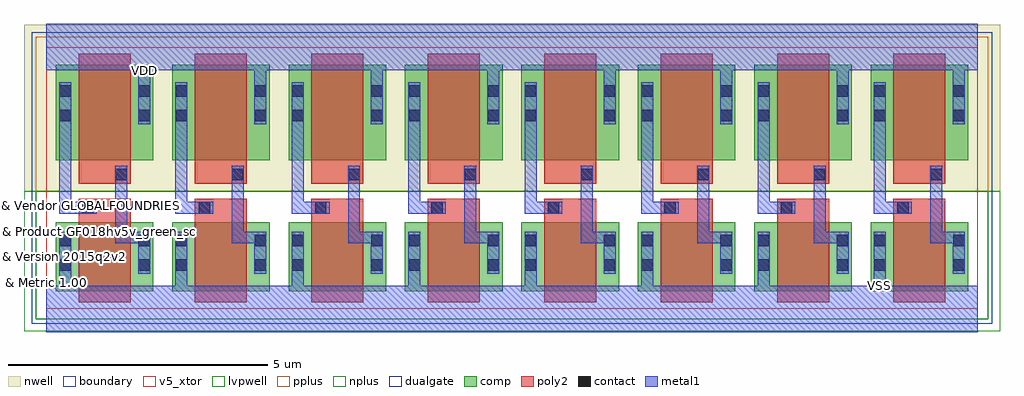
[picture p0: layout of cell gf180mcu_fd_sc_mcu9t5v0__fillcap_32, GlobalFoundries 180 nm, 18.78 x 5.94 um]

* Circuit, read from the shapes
.subckt gf180mcu_fd_sc_mcu9t5v0__fillcap_32 VDD VSS
XM1 n1 n2 VSS VSUBS nfet_05v0 w=1.32u l=1u
XM2 n3 n4 VSS VSUBS nfet_05v0 w=1.32u l=1u
XM3 n5 n6 VSS VSUBS nfet_05v0 w=1.32u l=1u
XM4 n7 n8 VSS VSUBS nfet_05v0 w=1.32u l=1u
XM5 n9 n10 VSS VSUBS nfet_05v0 w=1.32u l=1u
XM6 n11 n12 VSS VSUBS nfet_05v0 w=1.32u l=1u
XM7 n13 n14 VSS VSUBS nfet_05v0 w=1.32u l=1u
XM8 n15 n16 VSS VSUBS nfet_05v0 w=1.32u l=1u
XM9 VDD n1 n2 n17 pfet_05v0 w=1.83u l=1u
XM10 VDD n3 n4 n17 pfet_05v0 w=1.83u l=1u
XM11 VDD n5 n6 n17 pfet_05v0 w=1.83u l=1u
XM12 VDD n7 n8 n17 pfet_05v0 w=1.83u l=1u
XM13 VDD n9 n10 n17 pfet_05v0 w=1.83u l=1u
XM14 VDD n11 n12 n17 pfet_05v0 w=1.83u l=1u
XM15 VDD n13 n14 n17 pfet_05v0 w=1.83u l=1u
XM16 VDD n15 n16 n17 pfet_05v0 w=1.83u l=1u
.ends

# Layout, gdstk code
import gdstk
lib = gdstk.Library(unit=1e-6, precision=1e-09)
def R(c, l, rs):  # rectangles x0, y0, x1, y1
    for r in rs: c.add(gdstk.rectangle(r[:2], r[2:], *l))
def A(c, l, x, y, w, h, nx, ny, dx, dy):  # array of equal rectangles
    R(c, l, [(x+i*dx, y+j*dy, x+i*dx+w, y+j*dy+h) for i in range(nx) for j in range(ny)])
def P(c, l, *ps):  # polygons
    for p in ps: c.add(gdstk.Polygon(p, *l))
boundary = (0, 0)
nwell = (21, 0)
comp = (22, 0)
poly2 = (30, 0)
pplus = (31, 0)
nplus = (32, 0)
contact = (33, 0)
metal1 = (34, 0)
dualgate = (55, 0)
v5_xtor = (112, 1)
lvpwell = (204, 0)

gf180mcu_fd_sc_mcu9t5v0_ = lib.new_cell('gf180mcu_fd_sc_mcu9t5v0__fillcap_32')
R(gf180mcu_fd_sc_mcu9t5v0_, boundary, [(0,0,17.92,5.04)])
R(gf180mcu_fd_sc_mcu9t5v0_, nwell, [(-0.43,2.265,18.35,5.47)])
A(gf180mcu_fd_sc_mcu9t5v0_, comp, 0.18, 0.345, 1.88, 1.32, 8, 1, 2.24, 0)
A(gf180mcu_fd_sc_mcu9t5v0_, comp, 0.18, 2.865, 1.88, 1.83, 8, 1, 2.24, 0)
A(gf180mcu_fd_sc_mcu9t5v0_, poly2, 0.62, 0.125, 1, 2, 8, 1, 2.24, 0)
A(gf180mcu_fd_sc_mcu9t5v0_, poly2, 0.62, 2.405, 1, 2.51, 8, 1, 2.24, 0)
R(gf180mcu_fd_sc_mcu9t5v0_, pplus, [(-0.2,2.265,18.12,5.24)])
R(gf180mcu_fd_sc_mcu9t5v0_, nplus, [(-0.2,-0.2,18.12,2.265)])
A(gf180mcu_fd_sc_mcu9t5v0_, contact, 0.69, 1.835, 0.22, 0.22, 8, 1, 2.24, 0)
A(gf180mcu_fd_sc_mcu9t5v0_, contact, 1.33, 2.475, 0.22, 0.22, 8, 1, 2.24, 0)
R(gf180mcu_fd_sc_mcu9t5v0_, contact, [(0.25,0.74,0.47,0.96), (1.77,0.74,1.99,0.96), (2.49,0.74,2.71,0.96), (4.01,0.74,4.23,0.96), (4.73,0.74,4.95,0.96), (6.25,0.74,6.47,0.96), (6.97,0.74,7.19,0.96), (8.49,0.74,8.71,0.96), (9.21,0.74,9.43,0.96), (10.73,0.74,10.95,0.96), (11.45,0.74,11.67,0.96), (12.97,0.74,13.19,0.96), (13.69,0.74,13.91,0.96), (15.21,0.74,15.43,0.96), (15.93,0.74,16.15,0.96), (17.45,0.74,17.67,0.96), (0.25,1.21,0.47,1.43), (1.77,1.21,1.99,1.43), (2.49,1.21,2.71,1.43), (4.01,1.21,4.23,1.43), (4.73,1.21,4.95,1.43), (6.25,1.21,6.47,1.43), (6.97,1.21,7.19,1.43), (8.49,1.21,8.71,1.43), (9.21,1.21,9.43,1.43), (10.73,1.21,10.95,1.43), (11.45,1.21,11.67,1.43), (12.97,1.21,13.19,1.43), (13.69,1.21,13.91,1.43), (15.21,1.21,15.43,1.43), (15.93,1.21,16.15,1.43), (17.45,1.21,17.67,1.43), (0.25,3.61,0.47,3.83), (1.77,3.61,1.99,3.83), (2.49,3.61,2.71,3.83), (4.01,3.61,4.23,3.83), (4.73,3.61,4.95,3.83), (6.25,3.61,6.47,3.83), (6.97,3.61,7.19,3.83), (8.49,3.61,8.71,3.83), (9.21,3.61,9.43,3.83), (10.73,3.61,10.95,3.83), (11.45,3.61,11.67,3.83), (12.97,3.61,13.19,3.83), (13.69,3.61,13.91,3.83), (15.21,3.61,15.43,3.83), (15.93,3.61,16.15,3.83), (17.45,3.61,17.67,3.83), (0.25,4.08,0.47,4.3), (1.77,4.08,1.99,4.3), (2.49,4.08,2.71,4.3), (4.01,4.08,4.23,4.3), (4.73,4.08,4.95,4.3), (6.25,4.08,6.47,4.3), (6.97,4.08,7.19,4.3), (8.49,4.08,8.71,4.3), (9.21,4.08,9.43,4.3), (10.73,4.08,10.95,4.3), (11.45,4.08,11.67,4.3), (12.97,4.08,13.19,4.3), (13.69,4.08,13.91,4.3), (15.21,4.08,15.43,4.3), (15.93,4.08,16.15,4.3), (17.45,4.08,17.67,4.3)])
P(gf180mcu_fd_sc_mcu9t5v0_, metal1, [(0.245,1.83),(0.245,4.36),(0.475,4.36),(0.475,2.06),(0.97,2.06),(0.97,1.83)],
  [(1.765,0.68),(1.765,1.26),(1.325,1.26),(1.325,2.755),(1.555,2.755),(1.555,1.49),(1.995,1.49),(1.995,0.68)],
  [(2.485,1.83),(2.485,4.36),(2.715,4.36),(2.715,2.06),(3.21,2.06),(3.21,1.83)],
  [(4.005,0.68),(4.005,1.26),(3.565,1.26),(3.565,2.755),(3.795,2.755),(3.795,1.49),(4.235,1.49),(4.235,0.68)],
  [(4.725,1.83),(4.725,4.36),(4.955,4.36),(4.955,2.06),(5.45,2.06),(5.45,1.83)],
  [(6.245,0.68),(6.245,1.26),(5.805,1.26),(5.805,2.755),(6.035,2.755),(6.035,1.49),(6.475,1.49),(6.475,0.68)],
  [(6.965,1.83),(6.965,4.36),(7.195,4.36),(7.195,2.06),(7.69,2.06),(7.69,1.83)],
  [(8.485,0.68),(8.485,1.26),(8.045,1.26),(8.045,2.755),(8.275,2.755),(8.275,1.49),(8.715,1.49),(8.715,0.68)],
  [(9.205,1.83),(9.205,4.36),(9.435,4.36),(9.435,2.06),(9.93,2.06),(9.93,1.83)],
  [(10.725,0.68),(10.725,1.26),(10.285,1.26),(10.285,2.755),(10.515,2.755),(10.515,1.49),(10.955,1.49),(10.955,0.68)],
  [(11.445,1.83),(11.445,4.36),(11.675,4.36),(11.675,2.06),(12.17,2.06),(12.17,1.83)],
  [(12.965,0.68),(12.965,1.26),(12.525,1.26),(12.525,2.755),(12.755,2.755),(12.755,1.49),(13.195,1.49),(13.195,0.68)],
  [(13.685,1.83),(13.685,4.36),(13.915,4.36),(13.915,2.06),(14.41,2.06),(14.41,1.83)],
  [(15.205,0.68),(15.205,1.26),(14.765,1.26),(14.765,2.755),(14.995,2.755),(14.995,1.49),(15.435,1.49),(15.435,0.68)],
  [(15.925,1.83),(15.925,4.36),(16.155,4.36),(16.155,2.06),(16.65,2.06),(16.65,1.83)],
  [(17.445,0.68),(17.445,1.26),(17.005,1.26),(17.005,2.755),(17.235,2.755),(17.235,1.49),(17.675,1.49),(17.675,0.68)],
  [(0,-0.45),(0,0.45),(0.245,0.45),(0.245,1.49),(0.475,1.49),(0.475,0.45),(2.485,0.45),(2.485,1.49),(2.715,1.49),(2.715,0.45),(4.725,0.45),(4.725,1.49),(4.955,1.49),(4.955,0.45),(6.965,0.45),(6.965,1.49),(7.195,1.49),(7.195,0.45),(9.205,0.45),(9.205,1.49),(9.435,1.49),(9.435,0.45),(11.445,0.45),(11.445,1.49),(11.675,1.49),(11.675,0.45),(13.685,0.45),(13.685,1.49),(13.915,1.49),(13.915,0.45),(15.925,0.45),(15.925,1.49),(16.155,1.49),(16.155,0.45),(17.92,0.45),(17.92,-0.45)],
  [(1.765,3.55),(1.765,4.59),(0,4.59),(0,5.49),(17.92,5.49),(17.92,4.59),(17.675,4.59),(17.675,3.55),(17.445,3.55),(17.445,4.59),(15.435,4.59),(15.435,3.55),(15.205,3.55),(15.205,4.59),(13.195,4.59),(13.195,3.55),(12.965,3.55),(12.965,4.59),(10.955,4.59),(10.955,3.55),(10.725,3.55),(10.725,4.59),(8.715,4.59),(8.715,3.55),(8.485,3.55),(8.485,4.59),(6.475,4.59),(6.475,3.55),(6.245,3.55),(6.245,4.59),(4.235,4.59),(4.235,3.55),(4.005,3.55),(4.005,4.59),(1.995,4.59),(1.995,3.55)])
R(gf180mcu_fd_sc_mcu9t5v0_, dualgate, [(-0.28,-0.28,18.2,5.32)])
R(gf180mcu_fd_sc_mcu9t5v0_, v5_xtor, [(0,0,17.92,5.04)])
R(gf180mcu_fd_sc_mcu9t5v0_, lvpwell, [(-0.43,-0.43,18.35,2.265)])
gf180mcu_fd_sc_mcu9t5v0_.add(gdstk.Label('VDD', (1.88,4.59), layer=34, texttype=10))
gf180mcu_fd_sc_mcu9t5v0_.add(gdstk.Label('VSS', (16.04,0.45), layer=34, texttype=10))
gf180mcu_fd_sc_mcu9t5v0_.add(gdstk.Label('& Vendor GLOBALFOUNDRIES', (0,2), layer=63, texttype=63))
gf180mcu_fd_sc_mcu9t5v0_.add(gdstk.Label('& Product GF018hv5v_green_sc9', (0,1.5), layer=63, texttype=63))
gf180mcu_fd_sc_mcu9t5v0_.add(gdstk.Label('& Version 2015q2v2', (0,1), layer=63, texttype=63))
gf180mcu_fd_sc_mcu9t5v0_.add(gdstk.Label('& Metric 1.00', (0,0.5), layer=63, texttype=63))

lib.write_gds('gf180mcu_fd_sc_mcu9t5v0__fillcap_32.gds')
